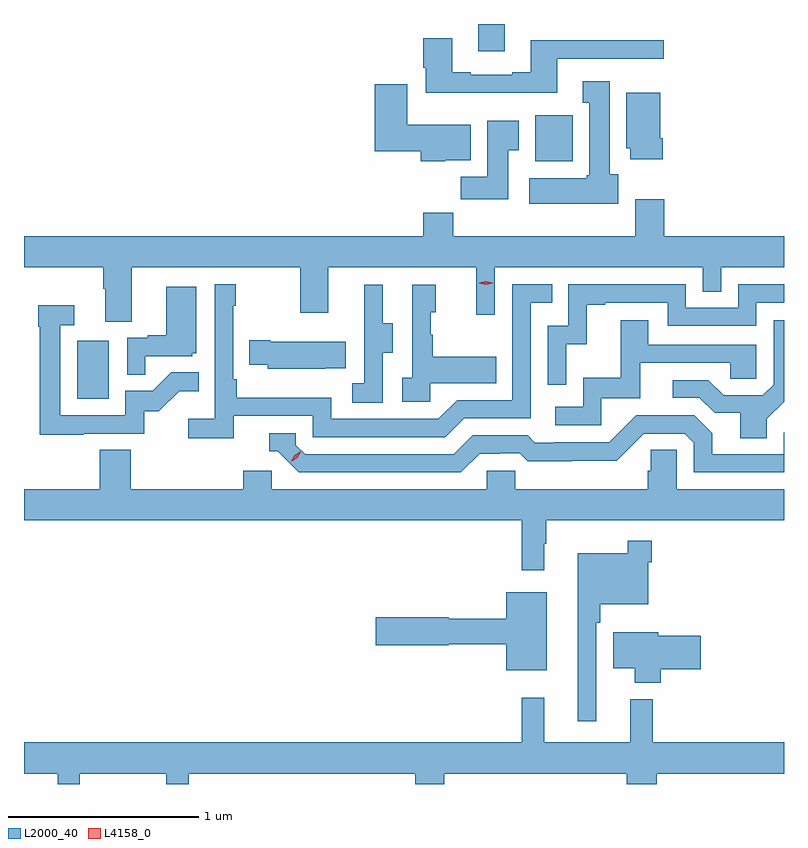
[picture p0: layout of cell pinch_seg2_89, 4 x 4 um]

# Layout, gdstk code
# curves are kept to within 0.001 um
import gdstk
lib = gdstk.Library(unit=1e-6, precision=1e-09)
def R(c, l, rs):  # rectangles x0, y0, x1, y1
    for r in rs: c.add(gdstk.rectangle(r[:2], r[2:], *l))
def P(c, l, *ps):  # polygons
    for p in ps: c.add(gdstk.Polygon(p, *l))
L2000_40 = (2000, 40)
L4158_0 = (4158, 0)

pinch_seg2_89 = lib.new_cell('pinch_seg2_89')
R(pinch_seg2_89, L2000_40, [(1040.666,640.284,1040.83,640.591), (1043.075,641.534,1043.272,641.776), (1042.775,642.114,1042.915,642.257)])
P(pinch_seg2_89, L2000_40, [(1043.191,642.075),(1043.752,642.075),(1043.752,642.172),(1043.051,642.172),(1043.051,642.004),(1042.955,642.004),(1042.955,641.991),(1042.735,641.991),(1042.735,642.004),(1042.639,642.004),(1042.639,642.181),(1042.487,642.181),(1042.487,642.028),(1042.499,642.028),(1042.499,641.894),(1043.191,641.894)],
  [(1043.512,641.466),(1043.467,641.466),(1043.467,641.956),(1043.327,641.956),(1043.327,641.843),(1043.36,641.843),(1043.36,641.46),(1043.347,641.46),(1043.347,641.446),(1043.043,641.446),(1043.043,641.312),(1043.512,641.312)],
  [(1042.602,641.54),(1042.735,641.54),(1042.735,641.728),(1042.402,641.728),(1042.402,641.941),(1042.232,641.941),(1042.232,641.588),(1042.472,641.588),(1042.472,641.534),(1042.602,641.534)],
  [(1043.747,641.656),(1043.734,641.656),(1043.734,641.896),(1043.555,641.896),(1043.555,641.604),(1043.576,641.604),(1043.576,641.544),(1043.747,641.544)],
  [(1042.933,641.593),(1042.99,641.593),(1042.99,641.749),(1042.823,641.749),(1042.823,641.452),(1042.684,641.452),(1042.684,641.334),(1042.933,641.334)],
  [(1040.953,640.976),(1041.838,640.976),(1041.838,640.737),(1041.985,640.737),(1041.985,640.976),(1042.766,640.976),(1042.766,640.728),(1042.863,640.728),(1042.863,640.976),(1043.958,640.976),(1043.958,640.849),(1044.054,640.849),(1044.054,640.976),(1044.385,640.976),(1044.385,641.14),(1043.756,641.14),(1043.756,641.335),(1043.603,641.335),(1043.603,641.14),(1042.643,641.14),(1042.643,641.264),(1042.487,641.264),(1042.487,641.14),(1040.385,641.14),(1040.385,640.976),(1040.801,640.976),(1040.801,640.864),(1040.813,640.864),(1040.813,640.69),(1040.953,640.69)],
  [(1041.488,640.194),(1041.906,640.194),(1041.906,640.083),(1042.603,640.083),(1042.702,640.182),(1043.052,640.182),(1043.052,640.791),(1043.165,640.791),(1043.165,640.887),(1042.956,640.887),(1042.956,640.278),(1042.665,640.278),(1042.566,640.179),(1042.002,640.179),(1042.002,640.291),(1041.506,640.291),(1041.506,640.387),(1041.486,640.387),(1041.486,640.775),(1041.499,640.775),(1041.499,640.888),(1041.39,640.888),(1041.39,640.18),(1041.249,640.18),(1041.249,640.078),(1041.488,640.078)],
  [(1043.238,640.571),(1043.348,640.571),(1043.348,640.779),(1043.443,640.779),(1043.443,640.791),(1043.772,640.791),(1043.772,640.668),(1044.24,640.668),(1044.24,640.791),(1044.385,640.791),(1044.385,640.887),(1044.144,640.887),(1044.144,640.764),(1043.868,640.764),(1043.868,640.887),(1043.25,640.887),(1043.25,640.668),(1043.142,640.668),(1043.142,640.359),(1043.238,640.359)],
  [(1042.524,640.367),(1042.871,640.367),(1042.871,640.507),(1042.537,640.507),(1042.537,640.622),(1042.527,640.622),(1042.527,640.74),(1042.552,640.74),(1042.552,640.885),(1042.428,640.885),(1042.428,640.394),(1042.377,640.394),(1042.377,640.269),(1042.524,640.269)],
  [(1042.272,640.528),(1042.327,640.528),(1042.327,640.683),(1042.273,640.683),(1042.273,640.885),(1042.175,640.885),(1042.175,640.671),(1042.176,640.671),(1042.176,640.367),(1042.113,640.367),(1042.113,640.264),(1042.272,640.264)],
  [(1041.023,640.509),(1041.27,640.509),(1041.27,640.524),(1041.292,640.524),(1041.292,640.873),(1041.134,640.873),(1041.134,640.618),(1041.035,640.618),(1041.035,640.605),(1040.928,640.605),(1040.928,640.411),(1041.023,640.411)],
  [(1040.699,640.101),(1041.018,640.101),(1041.018,640.218),(1041.094,640.218),(1041.201,640.325),(1041.305,640.325),(1041.305,640.424),(1041.161,640.424),(1041.063,640.326),(1040.919,640.326),(1040.919,640.197),(1040.577,640.197),(1040.577,640.671),(1040.65,640.671),(1040.65,640.777),(1040.461,640.777),(1040.461,640.664),(1040.469,640.664),(1040.469,640.096),(1040.699,640.096)],
  [(1044.295,640.18),(1044.385,640.27),(1044.385,640.699),(1044.33,640.699),(1044.33,640.359),(1044.273,640.302),(1044.067,640.302),(1043.986,640.383),(1043.799,640.383),(1043.799,640.29),(1043.94,640.29),(1044.02,640.21),(1044.155,640.21),(1044.155,640.078),(1044.295,640.078)],
  [(1043.424,640.287),(1043.629,640.287),(1043.629,640.473),(1044.103,640.473),(1044.103,640.389),(1044.24,640.389),(1044.24,640.569),(1043.671,640.569),(1043.671,640.699),(1043.527,640.699),(1043.527,640.396),(1043.328,640.396),(1043.328,640.242),(1043.18,640.242),(1043.18,640.146),(1043.424,640.146)],
  [(1041.971,640.445),(1042.079,640.445),(1042.079,640.585),(1041.682,640.585),(1041.682,640.593),(1041.571,640.593),(1041.571,640.463),(1041.669,640.463),(1041.669,640.442),(1041.971,640.442)],
  [(1042.783,639.996),(1042.89,639.996),(1042.89,639.999),(1042.993,639.999),(1043.035,639.957),(1043.268,639.957),(1043.268,639.959),(1043.504,639.959),(1043.646,640.101),(1043.862,640.101),(1043.91,640.053),(1043.91,639.897),(1044.385,639.897),(1044.385,640.108),(1044.384,639.993),(1044.007,639.993),(1044.007,640.103),(1043.913,640.197),(1043.607,640.197),(1043.466,640.056),(1043.173,640.056),(1043.173,640.053),(1043.074,640.053),(1043.035,640.092),(1042.746,640.092),(1042.647,639.993),(1041.864,639.993),(1041.816,640.041),(1041.816,640.104),(1041.677,640.104),(1041.677,640.008),(1041.72,640.008),(1041.831,639.897),(1042.684,639.897)],
  [(1043.122,639.521),(1043.134,639.521),(1043.134,639.644),(1044.385,639.644),(1044.385,639.808),(1043.82,639.808),(1043.82,640.016),(1043.683,640.016),(1043.683,639.906),(1043.669,639.906),(1043.669,639.808),(1042.971,639.808),(1042.971,639.906),(1042.821,639.906),(1042.821,639.808),(1041.69,639.808),(1041.69,639.906),(1041.539,639.906),(1041.539,639.808),(1040.948,639.808),(1040.948,640.016),(1040.783,640.016),(1040.783,639.808),(1040.385,639.808),(1040.385,639.644),(1043.005,639.644),(1043.005,639.381),(1043.122,639.381)],
  [(1043.397,639.107),(1043.417,639.107),(1043.417,639.203),(1043.67,639.203),(1043.67,639.425),(1043.69,639.425),(1043.69,639.538),(1043.562,639.538),(1043.562,639.472),(1043.3,639.472),(1043.3,638.586),(1043.397,638.586)],
  [(1043.137,639.265),(1042.922,639.265),(1042.922,639.128),(1042.62,639.128),(1042.62,639.134),(1042.236,639.134),(1042.236,638.987),(1042.62,638.987),(1042.62,638.992),(1042.922,638.992),(1042.922,638.855),(1043.137,638.855)],
  [(1043.735,638.86),(1043.947,638.86),(1043.947,639.038),(1043.722,639.038),(1043.722,639.055),(1043.486,639.055),(1043.486,638.867),(1043.6,638.867),(1043.6,638.789),(1043.735,638.789)],
  [(1043.123,638.71),(1043.005,638.71),(1043.005,638.476),(1040.385,638.476),(1040.385,638.312),(1040.563,638.312),(1040.563,638.257),(1040.679,638.257),(1040.679,638.312),(1041.134,638.312),(1041.134,638.257),(1041.251,638.257),(1041.251,638.312),(1042.445,638.312),(1042.445,638.257),(1042.597,638.257),(1042.597,638.312),(1043.557,638.312),(1043.557,638.257),(1043.714,638.257),(1043.714,638.312),(1044.385,638.312),(1044.385,638.476),(1043.693,638.476),(1043.693,638.704),(1043.576,638.704),(1043.576,638.476),(1043.123,638.476)])
P(pinch_seg2_89, L4158_0, [(1041.792,639.955),(1041.792,639.956),(1041.809,639.988),(1041.84,640.006),(1041.841,640.006),(1041.841,640.006),(1041.824,639.974),(1041.793,639.955)],
  [(1042.816,640.884),(1042.78,640.893),(1042.78,640.894),(1042.78,640.894),(1042.816,640.904),(1042.851,640.894),(1042.851,640.894),(1042.851,640.893)])

lib.write_gds('pinch_seg2_89.gds')
